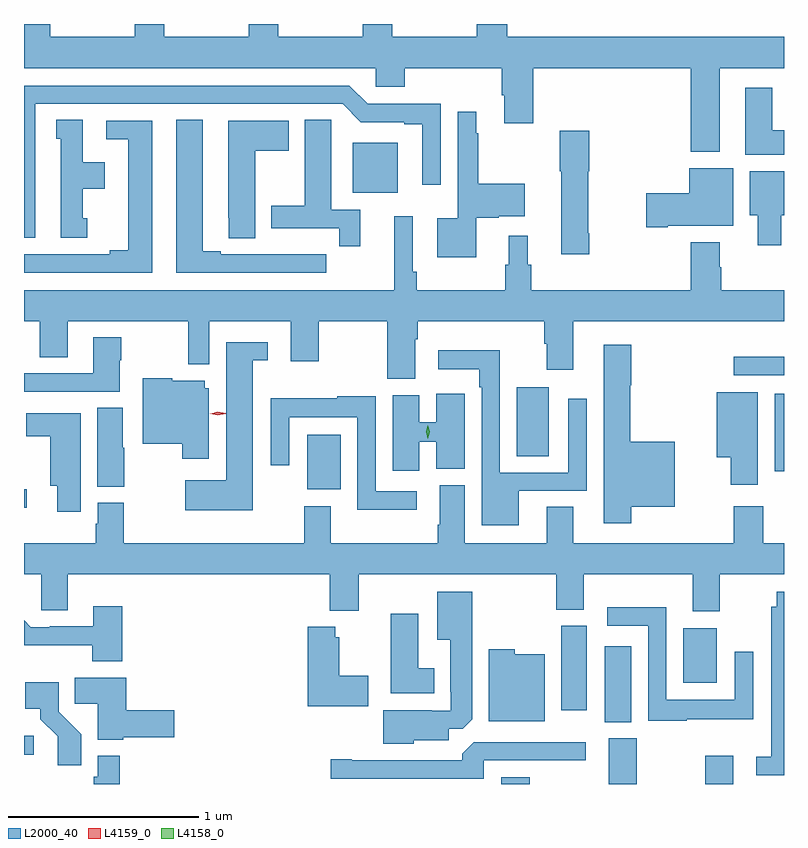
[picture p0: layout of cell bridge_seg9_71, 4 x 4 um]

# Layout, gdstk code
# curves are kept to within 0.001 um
import gdstk
lib = gdstk.Library(unit=1e-6, precision=1e-09)
def R(c, l, rs):  # rectangles x0, y0, x1, y1
    for r in rs: c.add(gdstk.rectangle(r[:2], r[2:], *l))
def P(c, l, *ps):  # polygons
    for p in ps: c.add(gdstk.Polygon(p, *l))
L2000_40 = (2000, 40)
L4158_0 = (4158, 0)
L4159_0 = (4159, 0)

bridge_seg9_71 = lib.new_cell('bridge_seg9_71')
R(bridge_seg9_71, L2000_40, [(1035.053,1213.964,1035.201,1213.999), (1035.617,1213.964,1035.765,1214.205), (1036.126,1213.964,1036.273,1214.113), (1032.54,1214.119,1032.592,1214.217), (1035.596,1214.29,1035.736,1214.689), (1035.368,1214.352,1035.502,1214.796), (1036.01,1214.498,1036.186,1214.785), (1032.54,1215.419,1032.555,1215.516), (1034.03,1215.515,1034.206,1215.802), (1036.49,1215.611,1036.54,1216.018), (1035.134,1215.688,1035.301,1216.051), (1036.275,1216.116,1036.54,1216.212), (1034.27,1217.075,1034.506,1217.338)])
P(bridge_seg9_71, L2000_40, [(1036.201,1217.732),(1036.54,1217.732),(1036.54,1217.896),(1035.083,1217.896),(1035.083,1217.964),(1034.923,1217.964),(1034.923,1217.896),(1034.478,1217.896),(1034.478,1217.964),(1034.323,1217.964),(1034.323,1217.896),(1033.878,1217.896),(1033.878,1217.964),(1033.723,1217.964),(1033.723,1217.896),(1033.278,1217.896),(1033.278,1217.964),(1033.123,1217.964),(1033.123,1217.896),(1032.678,1217.896),(1032.678,1217.964),(1032.54,1217.964),(1032.54,1217.732),(1034.391,1217.732),(1034.391,1217.634),(1034.543,1217.634),(1034.543,1217.732),(1035.055,1217.732),(1035.055,1217.59),(1035.068,1217.59),(1035.068,1217.442),(1035.221,1217.442),(1035.221,1217.732),(1036.049,1217.732),(1036.049,1217.291),(1036.201,1217.291)],
  [(1032.598,1217.544),(1034.217,1217.544),(1034.313,1217.448),(1034.54,1217.448),(1034.54,1217.436),(1034.636,1217.436),(1034.636,1217.118),(1034.733,1217.118),(1034.733,1217.544),(1034.349,1217.544),(1034.253,1217.64),(1032.54,1217.64),(1032.54,1216.839),(1032.598,1216.839)],
  [(1036.54,1217.404),(1036.477,1217.404),(1036.477,1217.629),(1036.337,1217.629),(1036.337,1217.276),(1036.54,1217.276)],
  [(1034.92,1216.945),(1035.039,1216.945),(1035.039,1216.952),(1035.175,1216.952),(1035.175,1217.123),(1034.932,1217.123),(1034.932,1217.39),(1034.92,1217.39),(1034.92,1217.503),(1034.823,1217.503),(1034.823,1216.942),(1034.714,1216.942),(1034.714,1216.736),(1034.92,1216.736)],
  [(1034.309,1216.986),(1034.158,1216.986),(1034.158,1217.348),(1034.157,1217.348),(1034.157,1217.459),(1034.018,1217.459),(1034.018,1217.007),(1033.841,1217.007),(1033.841,1216.89),(1034.2,1216.89),(1034.2,1216.794),(1034.309,1216.794)],
  [(1032.874,1216.941),(1032.85,1216.941),(1032.85,1217.096),(1032.964,1217.096),(1032.964,1217.236),(1032.85,1217.236),(1032.85,1217.459),(1032.71,1217.459),(1032.71,1217.361),(1032.734,1217.361),(1032.734,1216.839),(1032.874,1216.839)],
  [(1034.131,1216.752),(1034.018,1216.752),(1034.018,1216.753),(1033.852,1216.753),(1033.852,1216.752),(1033.576,1216.752),(1033.576,1216.767),(1033.48,1216.767),(1033.48,1217.459),(1033.34,1217.459),(1033.34,1216.656),(1034.131,1216.656)],
  [(1033.756,1217.296),(1033.933,1217.296),(1033.933,1217.455),(1033.616,1217.455),(1033.616,1216.945),(1033.617,1216.945),(1033.617,1216.837),(1033.756,1216.837)],
  [(1033.216,1217.454),(1032.972,1217.454),(1032.972,1217.358),(1033.088,1217.358),(1033.088,1216.772),(1032.992,1216.772),(1032.992,1216.752),(1032.54,1216.752),(1032.54,1216.656),(1033.216,1216.656)],
  [(1035.515,1216.864),(1035.51,1216.864),(1035.51,1217.188),(1035.515,1217.188),(1035.515,1217.401),(1035.361,1217.401),(1035.361,1217.188),(1035.368,1217.188),(1035.368,1216.752),(1035.515,1216.752)],
  [(1035.928,1216.901),(1036.273,1216.901),(1036.273,1217.206),(1036.04,1217.206),(1036.04,1217.072),(1035.816,1217.072),(1035.816,1216.894),(1035.928,1216.894)],
  [(1036.525,1216.958),(1036.54,1216.958),(1036.54,1217.188),(1036.361,1217.188),(1036.361,1216.958),(1036.403,1216.958),(1036.403,1216.8),(1036.525,1216.8)],
  [(1034.599,1216.304),(1034.612,1216.304),(1034.612,1216.4),(1035.278,1216.4),(1035.278,1216.28),(1035.29,1216.28),(1035.29,1216.143),(1035.43,1216.143),(1035.43,1216.4),(1036.54,1216.4),(1036.54,1216.564),(1036.209,1216.564),(1036.209,1216.685),(1036.201,1216.685),(1036.201,1216.816),(1036.049,1216.816),(1036.049,1216.564),(1035.209,1216.564),(1035.209,1216.698),(1035.19,1216.698),(1035.19,1216.849),(1035.092,1216.849),(1035.092,1216.698),(1035.073,1216.698),(1035.073,1216.564),(1034.606,1216.564),(1034.606,1216.66),(1034.586,1216.66),(1034.586,1216.951),(1034.489,1216.951),(1034.489,1216.564),(1032.54,1216.564),(1032.54,1216.4),(1032.622,1216.4),(1032.622,1216.21),(1032.769,1216.21),(1032.769,1216.4),(1033.405,1216.4),(1033.405,1216.172),(1033.516,1216.172),(1033.516,1216.4),(1033.943,1216.4),(1033.943,1216.188),(1034.091,1216.188),(1034.091,1216.4),(1034.452,1216.4),(1034.452,1216.096),(1034.599,1216.096)],
  [(1033.045,1216.195),(1033.053,1216.195),(1033.053,1216.315),(1032.905,1216.315),(1032.905,1216.125),(1032.54,1216.125),(1032.54,1216.029),(1033.045,1216.029)],
  [(1033.744,1216.193),(1033.822,1216.193),(1033.822,1216.29),(1033.604,1216.29),(1033.604,1215.562),(1033.389,1215.562),(1033.389,1215.404),(1033.744,1215.404)],
  [(1035.737,1215.422),(1035.964,1215.422),(1035.964,1215.766),(1035.732,1215.766),(1035.732,1216.063),(1035.737,1216.063),(1035.737,1216.276),(1035.59,1216.276),(1035.59,1215.336),(1035.737,1215.336)],
  [(1035.145,1215.507),(1035.501,1215.507),(1035.501,1215.991),(1035.405,1215.991),(1035.405,1215.603),(1035.045,1215.603),(1035.045,1216.246),(1034.721,1216.246),(1034.721,1216.148),(1034.937,1216.148),(1034.937,1216.052),(1034.949,1216.052),(1034.949,1215.326),(1035.145,1215.326)],
  [(1033.513,1216.047),(1033.492,1216.047),(1033.492,1216.087),(1033.32,1216.087),(1033.32,1216.099),(1033.166,1216.099),(1033.166,1215.755),(1033.372,1215.755),(1033.372,1215.675),(1033.513,1215.675)],
  [(1036.402,1216.027),(1036.187,1216.027),(1036.187,1215.683),(1036.261,1215.683),(1036.261,1215.54),(1036.402,1215.54)],
  [(1034.62,1215.766),(1034.711,1215.766),(1034.711,1215.622),(1034.86,1215.622),(1034.86,1216.018),(1034.711,1216.018),(1034.711,1215.869),(1034.62,1215.869),(1034.62,1216.011),(1034.48,1216.011),(1034.48,1215.612),(1034.62,1215.612)],
  [(1034.608,1215.504),(1034.391,1215.504),(1034.391,1216.004),(1034.188,1216.004),(1034.188,1215.994),(1033.839,1215.994),(1033.839,1215.642),(1033.935,1215.642),(1033.935,1215.893),(1034.295,1215.893),(1034.295,1215.407),(1034.608,1215.407)],
  [(1033.068,1215.735),(1033.06,1215.735),(1033.06,1215.944),(1032.926,1215.944),(1032.926,1215.529),(1033.068,1215.529)],
  [(1032.838,1215.916),(1032.551,1215.916),(1032.551,1215.794),(1032.677,1215.794),(1032.677,1215.533),(1032.716,1215.533),(1032.716,1215.396),(1032.838,1215.396)],
  [(1036.201,1215.068),(1036.54,1215.068),(1036.54,1215.232),(1036.43,1215.232),(1036.43,1215.427),(1036.276,1215.427),(1036.276,1215.232),(1035.43,1215.232),(1035.43,1215.422),(1035.29,1215.422),(1035.29,1215.232),(1034.86,1215.232),(1034.86,1215.537),(1034.729,1215.537),(1034.729,1215.328),(1034.717,1215.328),(1034.717,1215.232),(1034.155,1215.232),(1034.155,1215.427),(1034.015,1215.427),(1034.015,1215.232),(1033.065,1215.232),(1033.065,1215.444),(1032.929,1215.444),(1032.929,1215.333),(1032.917,1215.333),(1032.917,1215.232),(1032.54,1215.232),(1032.54,1215.068),(1032.63,1215.068),(1032.63,1214.878),(1032.769,1214.878),(1032.769,1215.068),(1034.15,1215.068),(1034.15,1214.876),(1034.302,1214.876),(1034.302,1215.068),(1035.34,1215.068),(1035.34,1214.881),(1035.487,1214.881),(1035.487,1215.068),(1036.061,1215.068),(1036.061,1214.874),(1036.201,1214.874)],
  [(1034.592,1214.195),(1034.776,1214.195),(1034.776,1214.256),(1034.85,1214.256),(1034.899,1214.305),(1034.899,1214.977),(1034.714,1214.977),(1034.714,1214.723),(1034.783,1214.723),(1034.783,1214.449),(1034.787,1214.449),(1034.787,1214.349),(1034.687,1214.349),(1034.687,1214.353),(1034.432,1214.353),(1034.432,1214.177),(1034.592,1214.177)],
  [(1036.54,1214.977),(1036.502,1214.977),(1036.502,1214.896),(1036.472,1214.896),(1036.472,1214.108),(1036.395,1214.108),(1036.395,1214.01),(1036.54,1214.01)],
  [(1033.058,1214.899),(1032.905,1214.899),(1032.905,1214.793),(1032.676,1214.793),(1032.676,1214.79),(1032.576,1214.79),(1032.54,1214.826),(1032.54,1214.693),(1032.898,1214.694),(1032.898,1214.609),(1033.058,1214.609)],
  [(1036.028,1214.306),(1036.377,1214.306),(1036.377,1214.659),(1036.281,1214.659),(1036.281,1214.407),(1035.921,1214.407),(1035.921,1214.893),(1035.609,1214.893),(1035.609,1214.796),(1035.825,1214.796),(1035.825,1214.296),(1036.028,1214.296)],
  [(1034.698,1214.572),(1034.614,1214.572),(1034.614,1214.86),(1034.471,1214.86),(1034.471,1214.441),(1034.698,1214.441)],
  [(1034.353,1214.535),(1034.2,1214.535),(1034.2,1214.737),(1034.178,1214.737),(1034.178,1214.791),(1034.033,1214.791),(1034.033,1214.372),(1034.353,1214.372)],
  [(1035.28,1214.647),(1035.123,1214.647),(1035.123,1214.674),(1034.987,1214.674),(1034.987,1214.294),(1035.28,1214.294)],
  [(1033.062,1214.209),(1033.33,1214.209),(1033.33,1214.351),(1033.079,1214.351),(1033.079,1214.524),(1032.808,1214.524),(1032.808,1214.386),(1032.929,1214.386),(1032.929,1214.198),(1033.062,1214.198)],
  [(1032.842,1214.226),(1032.723,1214.345),(1032.723,1214.5),(1032.546,1214.5),(1032.546,1214.36),(1032.626,1214.36),(1032.626,1214.305),(1032.717,1214.215),(1032.717,1214.064),(1032.842,1214.064)],
  [(1034.961,1214.088),(1035.496,1214.088),(1035.496,1214.184),(1034.907,1214.184),(1034.846,1214.122),(1034.846,1214.088),(1034.266,1214.088),(1034.266,1214.093),(1034.154,1214.093),(1034.154,1213.992),(1034.961,1213.992)],
  [(1033.043,1214.113),(1032.927,1214.113),(1032.927,1214.001),(1032.907,1214.001),(1032.907,1213.964),(1033.043,1213.964)])
P(bridge_seg9_71, L4158_0, [(1034.666,1215.782),(1034.666,1215.782),(1034.656,1215.817),(1034.666,1215.851),(1034.666,1215.851),(1034.666,1215.851),(1034.676,1215.817),(1034.666,1215.782)])
P(bridge_seg9_71, L4159_0, [(1033.561,1215.904),(1033.52,1215.913),(1033.52,1215.913),(1033.52,1215.913),(1033.56,1215.924),(1033.601,1215.915),(1033.601,1215.914),(1033.601,1215.914)])

lib.write_gds('bridge_seg9_71.gds')
